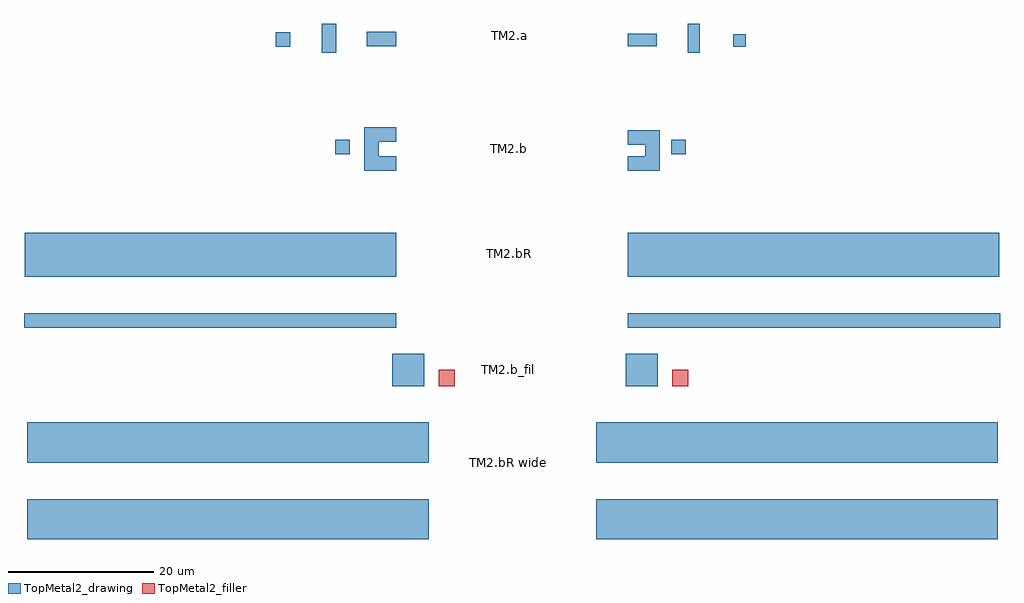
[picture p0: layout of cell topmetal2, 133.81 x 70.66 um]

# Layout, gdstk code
import gdstk
lib = gdstk.Library(unit=1e-6, precision=1e-09)
def R(c, l, rs):  # rectangles x0, y0, x1, y1
    for r in rs: c.add(gdstk.rectangle(r[:2], r[2:], *l))
def P(c, l, *ps):  # polygons
    for p in ps: c.add(gdstk.Polygon(p, *l))
TopMetal2_drawing = (134, 0)
TopMetal2_filler = (134, 22)

topmetal2 = lib.new_cell('topmetal2')
R(topmetal2, TopMetal2_drawing, [(-66,-76.08,-11,-70.58), (12,-76.07,67,-70.57), (-66,-65.58,-11,-60.08), (12,-65.58,67,-60.08), (-16,-55.08,-11.6,-50.68), (16,-55.08,20.4,-50.68), (-66.475,-47.08,-15.47,-45.08), (16.325,-47.075,67.33,-45.075), (-66.405,-40.08,-15.47,-34.08), (16.325,-40.08,67.26,-34.08), (-23.83,-23.315,-21.83,-21.315), (22.265,-23.315,24.265,-21.315), (-25.675,-9.42,-23.675,-5.42), (24.51,-9.42,26.155,-5.42), (-31.945,-8.575,-29.945,-6.575), (30.78,-8.575,32.49,-6.865), (-19.47,-8.51,-15.47,-6.51), (16.305,-8.51,20.305,-6.805)])
P(topmetal2, TopMetal2_drawing, [(-19.83,-25.585),(-19.83,-19.585),(-15.47,-19.585),(-15.47,-21.585),(-17.83,-21.585),(-17.83,-23.585),(-15.47,-23.585),(-15.47,-25.585)],
  [(16.305,-25.585),(16.305,-23.585),(18.665,-23.585),(18.665,-22.01),(16.305,-22.01),(16.305,-20.01),(20.665,-20.01),(20.665,-25.585)])
R(topmetal2, TopMetal2_filler, [(-9.59,-55.08,-7.39,-52.88), (22.38,-55.08,24.58,-52.88)])
topmetal2.add(gdstk.Label('TM2.bR wide', (0,-65.58), layer=63, texttype=0))
topmetal2.add(gdstk.Label('TM2.a', (0.06,-7.035), layer=63, texttype=0))
topmetal2.add(gdstk.Label('TM2.b', (0.06,-22.475), layer=63, texttype=0))
topmetal2.add(gdstk.Label('PASS', (-12,5), layer=63, texttype=0))
topmetal2.add(gdstk.Label('FAIL', (12,5), layer=63, texttype=0))
topmetal2.add(gdstk.Label('TM2.bR', (0.06,-36.97), layer=63, texttype=0))
topmetal2.add(gdstk.Label('5.25 TopMetal2', (0,21), layer=63, texttype=0))
topmetal2.add(gdstk.Label('TM2.b_fil', (0,-52.88), layer=63, texttype=0))

lib.write_gds('topmetal2.gds')
